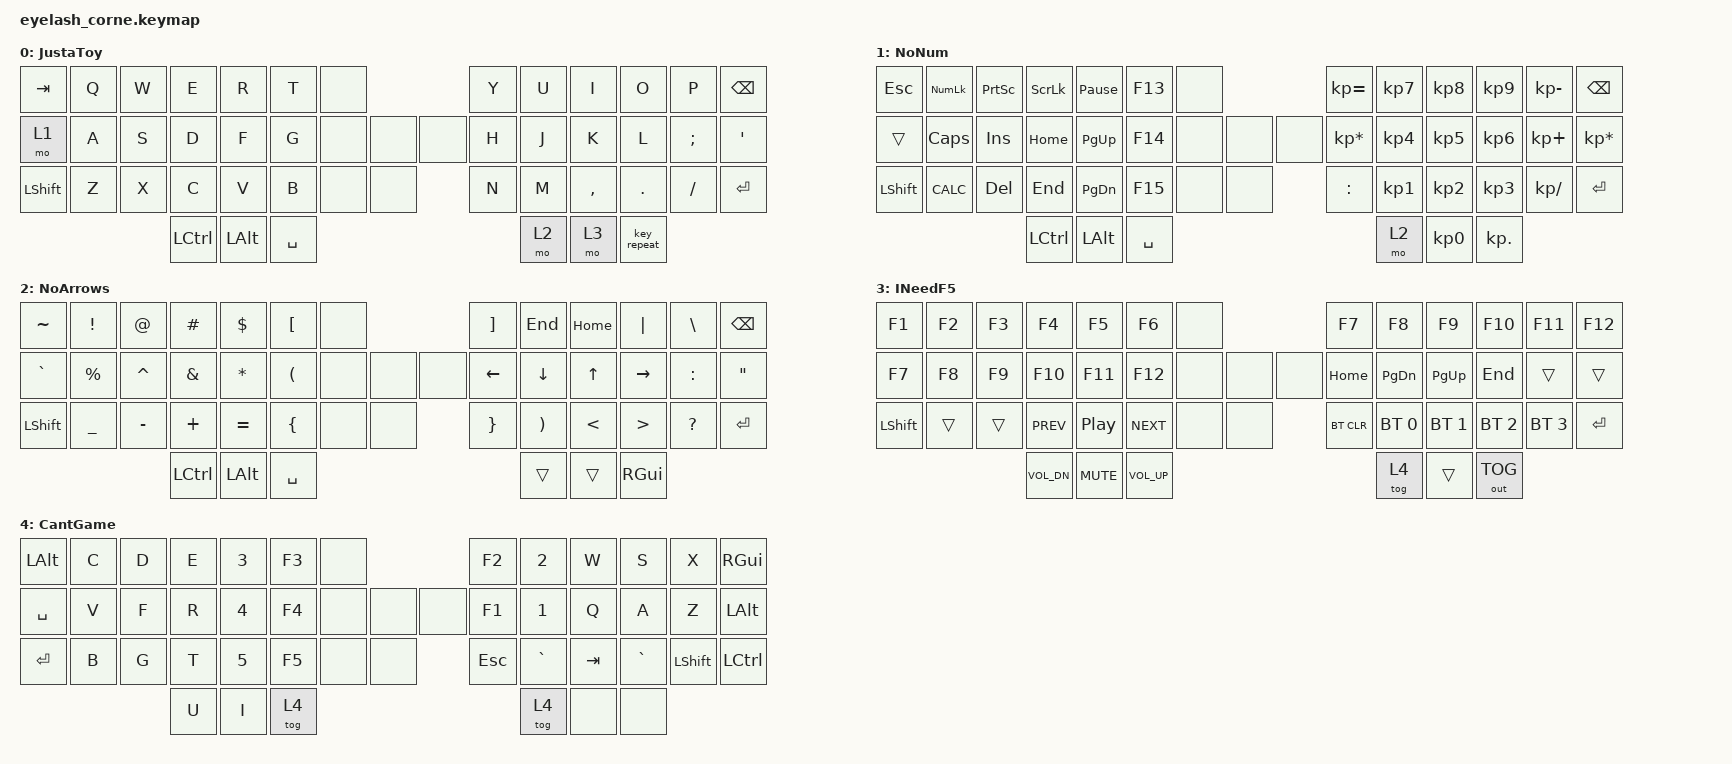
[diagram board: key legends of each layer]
#include <behaviors.dtsi>
#include <dt-bindings/zmk/keys.h>
#include <dt-bindings/zmk/bt.h>
// #include <dt-bindings/zmk/mouse.h>
#include <dt-bindings/zmk/outputs.h>

/ {
    chosen {
        zmk,matrix_transform = &default_transform;
        //zmk,matrix_transform = &five_column_transform;
    };
};

&sl {
	release-after-ms = <250>;
};

/ {
    combos {
        compatible = "zmk,combos";

        gui {
            bindings = <&kp LGUI>;
            key-positions = <43 44>;
        };

	bsforleft {
	    bindings = <&kp BSPC>;
	    key-positions = <4 5>;
	};

	enterforleft {
	    bindings = <&kp ENTER>;
	    key-positions = <32 33>;
	};
    };
};


/ {
	keymap {
		compatible = "zmk,keymap";

		0_layer {
			label = "JustaToy";
//  -----------------------------------------------------------------------------
//  | TAB |  Q  |  W  |  E  |  R  |  T  |   |  Y  |  U  |  I  |  O  |  P  |BKSP |
//  |MO(1)|  A  |  S  |  D  |  F  |  G  |   |  H  |  J  |  K  |  L  |  ;  |  '  |
//  |LSHFT|  Z  |  X  |  C  |  V  |  B  |   |  N  |  M  |  ,  |  .  |  /  |ENTER|
//                    |RCTRL| ALT | SPC |   |MO(2)|MO(3)| REP |
//  -----------------------------------------------------------------------------
			bindings = <
			&kp TAB    &kp Q  &kp W  &kp E      &kp R     &kp T   &none                 &kp Y  &kp U  &kp I      &kp O    &kp P     &kp BSPC
			&mo 1      &kp A  &kp S  &kp D      &kp F     &kp G   &none  &none  &none   &kp H  &kp J  &kp K      &kp L    &kp SEMI  &kp SQT
			&kp LSHFT  &kp Z  &kp X  &kp C      &kp V     &kp B   &none  &none          &kp N  &kp M  &kp COMMA  &kp DOT  &kp FSLH  &kp ENTER
	                          	     &kp LCTRL  &kp LALT  &kp SPACE                         &mo 2  &mo 3  &key_repeat
			>;
		};

		1_layer {
			label = "NoNum";
//  -----------------------------------------------------------------------------
//  | ESC | NUM |PSCRN| SLCK|PAUSE| F13 |   |  =  |  7  |  8  |  9  |  -  |BKSP |
//  |     | CAPS| INS | HOME|PG_UP| F14 |   |  *  |  4  |  5  |  6  |  +  |  *  |
//  |LSHFT| CAL | DEL | END |PG_DN| F15 |   |  :  |  1  |  2  |  3  |  /  |ENTER|
//                    |RCTRL| ALT | SPC |   |MO(2)|  0  |  .  |
//  -----------------------------------------------------------------------------
			bindings = <
				&kp ESC    &kp KP_NUM &kp PSCRN &kp SLCK  &kp PAUSE_BREAK  &kp F13    &none                &kp KP_EQUAL     &kp KP_N7  &kp KP_N8  &kp KP_N9 &kp KP_MINUS  &kp BSPC
				&trans     &kp CAPS   &kp INS   &kp HOME  &kp PG_UP        &kp F14    &none  &none  &none  &kp KP_ASTERISK  &kp KP_N4  &kp KP_N5  &kp KP_N6 &kp KP_PLUS   &kp KP_ASTERISK
				&kp LSHFT  &kp K_CALC &kp DEL   &kp END   &kp PG_DN        &kp F15    &none  &none         &kp COLON        &kp KP_N1  &kp KP_N2  &kp KP_N3 &kp KP_DIVIDE &kp ENTER
				                 	            &kp LCTRL &kp LALT     &kp SPACE                       &mo 2        &kp KP_N0  &kp KP_DOT 
			>;
		};

		2_layer {
			label = "NoArrows";
//  -----------------------------------------------------------------------------
//  |  ~  |  !  |  @  |  #  |  $  |  [  |   |  ]  | END |HOME |  |  |  \  |BKSP |
//  |  `  |  %  |  ^  |  &  |  *  |  (  |   |LEFT |DOWN | UP  |RIGHT|  :  |  "  |
//  |LSHFT|  _  |  -  |  +  |  =  |  {  |   |  }  |  )  |  <  |  >  |  ?  |ENTER| 
//                    |RCTRL| ALT | SPC |   |     |     |     |
//  -----------------------------------------------------------------------------
			bindings = <
				&kp TILDE  &kp EXCL   &kp AT     &kp HASH   &kp DLLR   &kp LBKT   &none                &kp RBKT      &kp END   &kp HOME  &kp PIPE   &kp BSLH   &kp BSPC
				&kp GRAVE  &kp PRCNT  &kp CARET  &kp AMPS   &kp STAR   &kp LPAR   &none  &none  &none  &kp LEFT &kp DOWN  &kp UP    &kp RIGHT  &kp COLON  &kp DQT
				&kp LSHFT  &kp UNDER  &kp MINUS  &kp PLUS   &kp EQUAL  &kp LBRC   &none  &none         &kp RBRC  &kp RPAR  &kp LT    &kp GT     &kp QMARK  &kp ENTER
				 	         		 &kp LCTRL  &kp LALT   &kp SPACE                       &trans    &trans    &kp RGUI
			>;
		};
		
		3_layer {
			label = "INeedF5";
//  ------------------------------------------------------------------------------
//  |  F1  |  F2 |  F3 |  F4 |  F5 |  F6 |   |  F7 |  F8 |  F9 | F10 | F11 | F12 |
//  |  F7  |  F8 |  F9 | F10 | F11 | F12 |   |     |     |     |     |     |     | &mmv MOVE_LEFT  &mmv MOVE_DOWN  &mmv MOVE_UP  &mmv MOVE_RIGHT
//  | LSHFT|     |     |CPREV| CPP |CNEXT|   |BTCLR| BT0 | BT1 | BT2 | BT3 |ENTER| 
//                     |VOLDN|MUTE |VOLUP|   |TOG(4)|    |O_TOG|
//  ------------------------------------------------------------------------------

			bindings = <
				&kp F1     &kp F2  &kp F3  &kp F4        &kp F5      &kp F6        &none                 &kp F7       &kp F8         &kp F9        &kp F10          &kp F11       &kp F12
				&kp F7     &kp F8  &kp F9  &kp F10       &kp F11     &kp F12       &none  &none  &none   &kp HOME     &kp PG_DN      &kp PG_UP     &kp END          &trans        &trans 
				&kp LSHFT  &trans  &trans  &kp C_PREV    &kp C_PP    &kp C_NEXT    &none  &none          &bt BT_CLR   &bt BT_SEL 0   &bt BT_SEL 1  &bt BT_SEL 2     &bt BT_SEL 3  &kp ENTER
		   		             		   &kp C_VOL_DN  &kp C_MUTE  &kp C_VOL_UP                        &tog 4      &trans          &out OUT_TOG
			>;
		};

		4_layer {
			label = "CantGame";
//  ------------------------------------------------------------------------------
//  |    | ECS |  F1 |  F2 |	|  F3 |  F4 |  F5 |     |
//  |    |  `  |  1  |  2  |    |  3  |  4  |  5  |  I  |
//  |    | TAB |  Q  |  W  |    |  E  |  R  |  T  |  U  |
//	     |     |  A  |  S  |    |  D  |  F  |  G  |
//	 	 |LSHFT|  Z  |  X  |    |  C  |  V  |  B  |
//		 |LCTRL|LALT |     |    |     |SPACE|     |

			bindings = <
				&kp LALT   &kp C   &kp D   &kp E   &kp N3  &kp F3   &none                &kp F2   &kp N2     &kp W    &kp S      &kp X      &kp RGUI
				&kp SPACE  &kp V   &kp F   &kp R   &kp N4  &kp F4   &none  &none  &none  &kp F1   &kp N1     &kp Q    &kp A      &kp Z      &kp LALT
				&kp ENTER  &kp B   &kp G   &kp T   &kp N5  &kp F5   &none  &none         &kp ESC  &kp GRAVE  &kp TAB  &kp GRAVE  &kp LSHFT  &kp LCTRL
							   &kp U   &kp I   &tog 4                        &tog 4   &none   &none 
			>;
		};
	};
};
